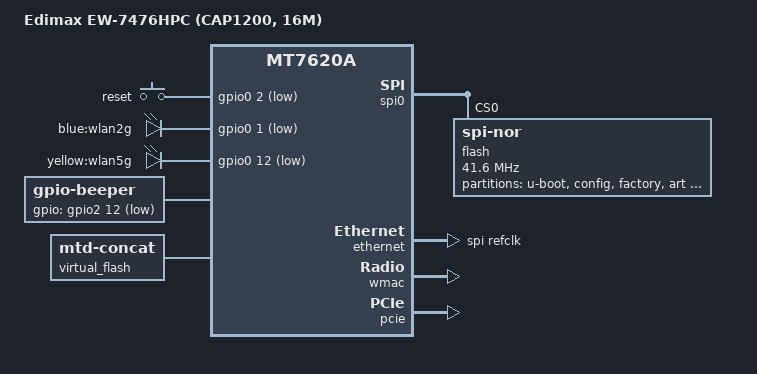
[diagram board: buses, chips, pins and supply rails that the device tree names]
// SPDX-License-Identifier: GPL-2.0-or-later OR MIT

#include "mt7620a.dtsi"

#include <dt-bindings/gpio/gpio.h>
#include <dt-bindings/input/input.h>
#include <dt-bindings/mtd/partitions/uimage.h>

/ {
	compatible = "edimax,ew-7476hpc-16m", "ralink,mt7620a-soc";
	model = "Edimax EW-7476HPC (CAP1200, 16M)";

	keys {
		compatible = "gpio-keys";

		reset {
			label = "reset";
			gpios = <&gpio0 2 GPIO_ACTIVE_LOW>;
			linux,code = <KEY_RESTART>;
		};
	};

	leds {
		compatible = "gpio-leds";

		wlan2g {
			label = "blue:wlan2g";
			gpios = <&gpio0 1 GPIO_ACTIVE_LOW>;
			linux,default-trigger = "phy1tpt";
		};

		wlan5g {
			label = "yellow:wlan5g";
			gpios = <&gpio0 12 GPIO_ACTIVE_LOW>;
			linux,default-trigger = "phy0tpt";
		};
	};

	beeper {
		compatible = "gpio-beeper";
		gpios = <&gpio2 12 GPIO_ACTIVE_LOW>;
	};
	
	virtual_flash {
		compatible = "mtd-concat";

		devices = <&fwconcat0 &fwconcat1 &fwconcat2>;

		partitions {
			compatible = "fixed-partitions";

			partition@0 {
				label = "firmware";
				reg = <0x0 0x0>;
				compatible = "denx,uimage";
			};
		};
	};
};

&spi0 {
	status = "okay";

	flash@0 {
		compatible = "jedec,spi-nor";
		reg = <0>;
		spi-max-frequency = <41600000>;

		partitions {
			compatible = "fixed-partitions";
			#address-cells = <1>;
			#size-cells = <1>;

			partition@0 {
				label = "u-boot";
				reg = <0x0 0x30000>;
				read-only;
			};

			partition@30000 {
				label = "config";
				reg = <0x30000 0x10000>;
				read-only;
			};
			
			factory: partition@40000 {
				label = "factory";
				reg = <0x40000 0x8000>;
				read-only;
			};

			art: partition@48000 {
				label = "art";
				reg = <0x48000 0x8000>;
				read-only;
			};

			fwconcat0: partition@50000 {
				label = "fwconcat0";
				reg = <0x50000 0x179000>;
			};
			
			fwconcat1: partition@1c9000 {
				label = "fwconcat1";
				reg = <0x1c9000 0xb11000>;
			};
			
			partition@cda000 {
				label = "nms_data";
				reg = <0xcda000 0x200000>;
			};

			partition@eda000 {
				label = "manufacture";
				reg = <0xeda000 0x96000>;
			};

			partition@f70000 {
				label = "backup";
				reg = <0xf70000 0x10000>;
			};

			fwconcat2: partition@f80000 {
				label = "fwconcat2";
				reg = <0xf80000 0x80000>;
			};
		};
	};
};

&state_default {
	gpio {
		groups = "i2c", "uartf";
		function = "gpio";
	};
};

&pinctrl {
	phy_reset_pins: phy-reset {
		gpio {
			groups = "spi refclk";
			function = "gpio";
		};
	};
};

&ethernet {
	pinctrl-names = "default";
	pinctrl-0 = <&rgmii1_pins &mdio_pins &phy_reset_pins>;

	mtd-mac-address = <&factory 0x4>;

	mediatek,mdio-mode = <1>;

	port@5 {
		status = "okay";
		mediatek,fixed-link = <1000 1 1 1>;
		phy-mode = "rgmii";
	};

	mdio-bus {
		status = "okay";
	};
};

&gsw {
	mediatek,port5 = "gmac";
};

&wmac {
	ralink,mtd-eeprom = <&factory 0x0>;
};

&pcie {
	status = "okay";
};

&pcie0 {
	wifi@0,0 {
		reg = <0x0000 0 0 0 0>;
		mediatek,mtd-eeprom = <&art 0x0>;
		mediatek,2ghz = <0>;
	};
};
